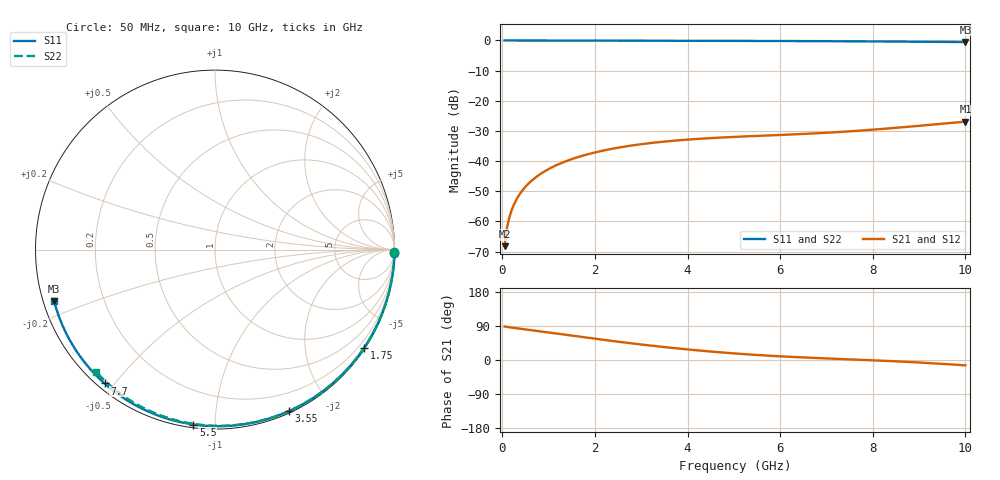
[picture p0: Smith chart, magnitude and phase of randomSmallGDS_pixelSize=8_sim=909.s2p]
! freq	dB(S11)	phase(S11)	dB(S12)	phase(S12)
!  dB(S21)	phase(S21)	dB(S22)	phase(S22)
!S-par simulation data
#  GHz  S  DB  R 50
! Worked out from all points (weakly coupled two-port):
!   200 points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, 50 MHz to 10 GHz, reference 50 ohm
!   highest |S21| = -26.92 dB at 10 GHz (marker M1); lowest = -68.2 dB at 50 MHz (marker M2)
!   lowest |S11| = -0.5 dB at 10 GHz (marker M3), VSWR 32.90, Z = 1.56 - j7.76 ohm
!   |S11| at or under -10 dB: nowhere
!   |S22| runs from -0.4 to 0.0 dB; largest |S21 - S12| = 0
!   S11 on the Smith chart (normalised r, x): 50 MHz: open; 1.75 GHz: 0.03, -3.35; 3.55 GHz: 0.02, -1.56; 5.5 GHz: 0.02, -0.88; 7.7 GHz: 0.02, -0.47; 10 GHz: 0.03, -0.16
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0.05  -0.00 -1.0  -68.21 88.5  -68.21 88.5  -0.00 -0.8
0.1  -0.00 -1.9  -62.25 87.3  -62.25 87.3  -0.00 -1.6
0.15  -0.00 -2.9  -58.79 86.3  -58.79 86.3  -0.00 -2.4
0.2  -0.00 -3.9  -56.34 85.5  -56.34 85.5  -0.00 -3.2
0.25  -0.00 -4.8  -54.44 84.7  -54.44 84.7  -0.00 -3.9
0.35  -0.01 -6.8  -51.57 83.1  -51.57 83.1  -0.00 -5.5
0.5  -0.01 -9.7  -48.52 80.7  -48.52 80.7  -0.01 -7.9
0.7  -0.02 -13.5  -45.65 77.4  -45.65 77.4  -0.01 -11.0
1  -0.02 -19.2  -42.65 72.4  -42.65 72.4  -0.02 -15.7
1.35  -0.03 -25.8  -40.18 66.6  -40.18 66.6  -0.03 -21.1
1.75  -0.04 -33.3  -38.14 60.0  -38.14 60.0  -0.04 -27.2
2.6  -0.06 -48.8  -35.30 46.7  -35.30 46.7  -0.05 -39.9
3.4  -0.08 -62.8  -33.68 35.5  -33.68 35.5  -0.07 -51.6
3.55  -0.09 -65.4  -33.45 33.5  -33.45 33.5  -0.07 -53.8
4.3  -0.11 -77.9  -32.56 24.5  -32.56 24.5  -0.09 -64.3
5.05  -0.14 -90.0  -31.95 17.0  -31.95 17.0  -0.12 -74.4
5.5  -0.16 -97.0  -31.65 13.2  -31.65 13.2  -0.13 -80.4
6.7  -0.22 -115.1  -30.85 5.7  -30.85 5.7  -0.18 -95.6
7.7  -0.29 -129.5  -29.93 0.8  -29.93 0.8  -0.24 -107.6
8.35  -0.35 -138.8  -29.16 -2.6  -29.16 -2.6  -0.29 -115.3
9.2  -0.43 -150.8  -28.03 -8.0  -28.03 -8.0  -0.37 -125.0
10  -0.53 -162.3  -26.92 -14.1  -26.92 -14.1  -0.45 -134.1
